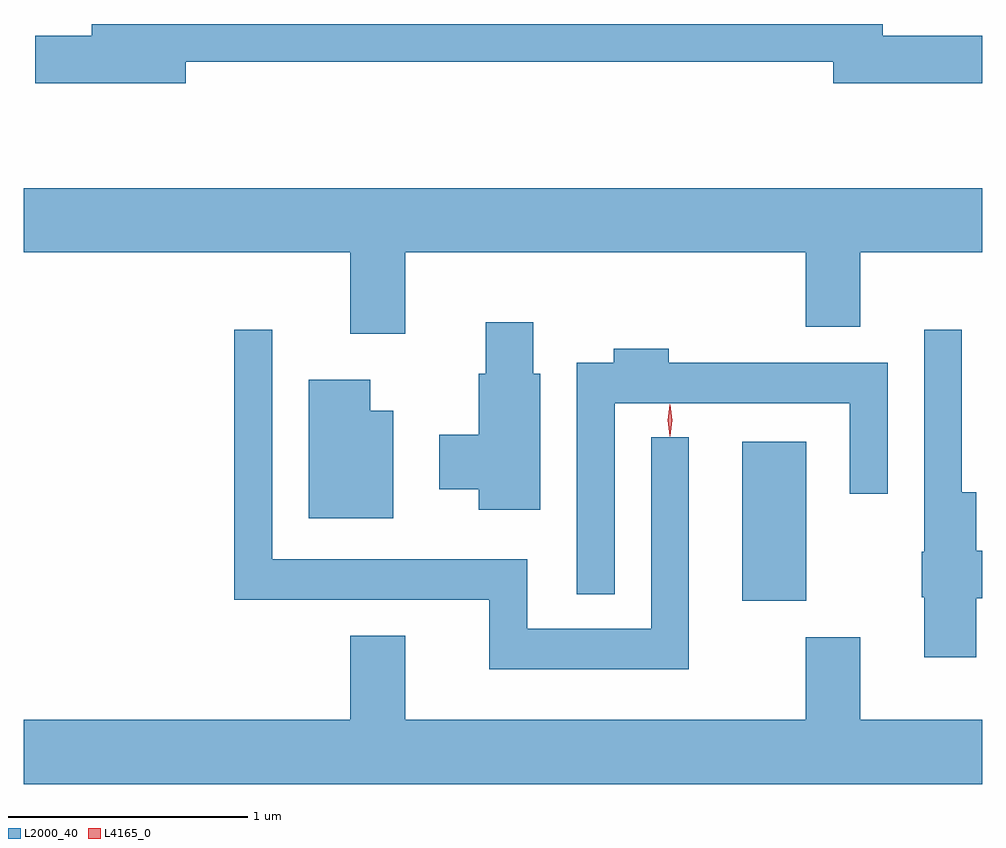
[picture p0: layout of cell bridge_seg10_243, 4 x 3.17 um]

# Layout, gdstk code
import gdstk
lib = gdstk.Library(unit=1e-6, precision=1e-09)
def R(c, l, rs):  # rectangles x0, y0, x1, y1
    for r in rs: c.add(gdstk.rectangle(r[:2], r[2:], *l))
def P(c, l, *ps):  # polygons
    for p in ps: c.add(gdstk.Polygon(p, *l))
L2000_40 = (2000, 40)
L4165_0 = (4165, 0)

bridge_seg10_243 = lib.new_cell('bridge_seg10_243')
R(bridge_seg10_243, L2000_40, [(1747.426,2096.921,1747.694,2097.584)])
P(bridge_seg10_243, L2000_40, [(1745.104,2099.171),(1747.806,2099.171),(1747.806,2099.081),(1748.428,2099.081),(1748.428,2099.279),(1748.014,2099.279),(1748.014,2099.329),(1744.711,2099.329),(1744.711,2099.279),(1744.476,2099.279),(1744.476,2099.081),(1745.104,2099.081)],
  [(1746.019,2098.376),(1747.691,2098.376),(1747.691,2098.066),(1747.919,2098.066),(1747.919,2098.376),(1748.428,2098.376),(1748.428,2098.644),(1744.428,2098.644),(1744.428,2098.376),(1745.791,2098.376),(1745.791,2098.036),(1746.019,2098.036)],
  [(1746.584,2097.869),(1746.554,2097.869),(1746.554,2098.084),(1746.356,2098.084),(1746.356,2097.869),(1746.326,2097.869),(1746.326,2097.614),(1746.161,2097.614),(1746.161,2097.386),(1746.326,2097.386),(1746.326,2097.301),(1746.584,2097.301)],
  [(1747.204,2097.603),(1747.046,2097.603),(1747.046,2096.804),(1746.529,2096.804),(1746.529,2097.094),(1745.464,2097.094),(1745.464,2098.053),(1745.306,2098.053),(1745.306,2096.926),(1746.371,2096.926),(1746.371,2096.636),(1747.204,2096.636)],
  [(1748.404,2096.931),(1748.428,2096.931),(1748.428,2097.129),(1748.404,2097.129),(1748.404,2097.374),(1748.344,2097.374),(1748.344,2098.053),(1748.186,2098.053),(1748.186,2097.125),(1748.176,2097.125),(1748.176,2096.935),(1748.186,2096.935),(1748.186,2096.686),(1748.404,2096.686)],
  [(1746.894,2097.746),(1747.876,2097.746),(1747.876,2097.368),(1748.034,2097.368),(1748.034,2097.914),(1747.119,2097.914),(1747.119,2097.974),(1746.891,2097.974),(1746.891,2097.914),(1746.736,2097.914),(1746.736,2096.948),(1746.894,2096.948)],
  [(1745.969,2097.714),(1745.874,2097.714),(1745.874,2097.844),(1745.616,2097.844),(1745.616,2097.266),(1745.969,2097.266)],
  [(1748.428,2096.424),(1747.919,2096.424),(1747.919,2096.769),(1747.691,2096.769),(1747.691,2096.424),(1746.019,2096.424),(1746.019,2096.774),(1745.791,2096.774),(1745.791,2096.424),(1744.428,2096.424),(1744.428,2096.156),(1748.428,2096.156)])
P(bridge_seg10_243, L4165_0, [(1747.125,2097.607),(1747.125,2097.608),(1747.115,2097.674),(1747.125,2097.74),(1747.125,2097.741),(1747.126,2097.74),(1747.135,2097.674),(1747.126,2097.608)])

lib.write_gds('bridge_seg10_243.gds')
